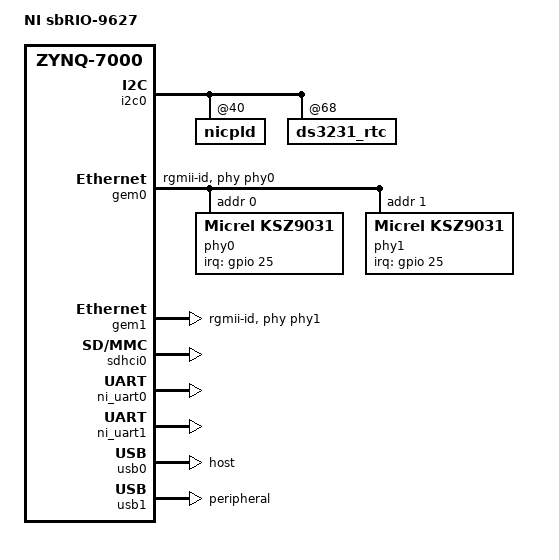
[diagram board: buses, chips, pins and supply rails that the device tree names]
/dts-v1/;
/include/ "ni-zynq.dtsi"

/* NIDEVCODE 77D5 */

/ {
	model = "NI sbRIO-9627";
	compatible = "ni,zynq", "xlnx,zynq-7000";

	aliases {
		serial0 = &ni_uart0;
		nullserial = &null_uart;
		i2c0 = &i2c0;
	};

	chosen {
		stdout-path = "nullserial:115200n8";
	};

	amba {
		i2c0: i2c@e0004000 {
			nicpld@40 {
				watchdogs {
					boot-watchdog {
						interrupt-parent = <&gpio>;
						interrupts = <1 2 /* IRQ_TYPE_EDGE_FALLING */>;
					};
				};

			};

			ds3231_rtc@68 {
				status = "okay";
			};
		};
	};
};

&gem0 {
	status = "okay";
	clocks = <&clkc 30>, <&clkc 13>, <&clkc 15>;
	clock-names = "pclk", "hclk", "tx_clk";
	phy-handle = <&phy0>;
	phy-mode = "rgmii-id";
	xlnx,emio = <1>;
	cdns,emio-gpio-speed-1000 = <54>;

	#address-cells = <0x1>;
	#size-cells = <0x0>;

	phy0: phy@0 {
		compatible = "Micrel,ksz9031";
		device_type = "ethernet-phy";
		reg = <0x0>;
		/* Interrupt on GPIO25, shared with phy1. */
		interrupts = <25 8 /* IRQ_TYPE_LEVEL_LOW */>;
		interrupt-parent = <&gpio>;

		/* RX_DV Pad Skew [7:4] = +0.30ns (0xC0) */
		/* Default is 0b0111, or 7. 7 * 60 ps = 420 ps. 0.30 ns is 300
		 * ps. 420 + 300 is 720 ps. */
		rxdv-skew-ps = <720>;

		/* TX_EN Pad Skew [3:0] = -0.30ns (0x02) */
		/* Default is 0b0111, or 7. 7 * 60 ps = 420 ps. 0.30 ns is 300
		 * ps. 420 - 300 is 120 ps. */
		txen-skew-ps = <120>;

		/* RXD 0-3 Pad Skew = +0.30ns (0xC) */
		/* Default is 0b0111, or 7. 7 * 60 ps = 420 ps. 0.30 ns is 300
		 * ps. 420 + 300 is 720 ps. */
		rxd0-skew-ps = <720>;
		rxd1-skew-ps = <720>;
		rxd2-skew-ps = <720>;
		rxd3-skew-ps = <720>;

		/* TXD 0-3 Pad Skew = -0.30ns (0x2) */
		/* Default is 0b0111, or 7. 7 * 60 ps = 420 ps. 0.30 ns is 300
		 * ps. 420 - 300 is 120 ps. */
		txd0-skew-ps = <120>;
		txd1-skew-ps = <120>;
		txd2-skew-ps = <120>;
		txd3-skew-ps = <120>;

		/* Write value to MMD Address 2h, Register 8h */
		/* RX_CLK Pad Skew [4:0] = -0.9ns (0x0) */
		/* Default is 0b01111, or 15. 15 * 60 ps = 900 ps. 0.90 ns is
		 * 900 ps. 900 - 900 is 0 ps. */
		rxc-skew-ps = <0>;
		/* GTX_CLK Pad Skew [9:5] = +0.96ns (0x3E) */
		/* Default is 0b01111, or 15. 15 * 60 ps = 900 ps. 0.96 ns is
		 * 960 ps. 900 + 960 is 1860 ps. */
		txc-skew-ps = <1860>;
	};

	phy1: phy@1 {
		compatible = "Micrel,ksz9031";
		device_type = "ethernet-phy";
		reg = <0x1>;
		/* Interrupt on GPIO25, shared with phy0. */
		interrupts = <25 8 /* IRQ_TYPE_LEVEL_LOW */>;
		interrupt-parent = <&gpio>;

		/* RX_DV Pad Skew [7:4] = +0.30ns (0xC0) */
		/* Default is 0b0111, or 7. 7 * 60 ps = 420 ps. 0.30 ns is 300
		 * ps. 420 + 300 is 720 ps. */
		rxdv-skew-ps = <720>;

		/* TX_EN Pad Skew [3:0] = -0.30ns (0x02) */
		/* Default is 0b0111, or 7. 7 * 60 ps = 420 ps. 0.30 ns is 300
		 * ps. 420 - 300 is 120 ps. */
		txen-skew-ps = <120>;

		/* RXD 0-3 Pad Skew = +0.30ns (0xC) */
		/* Default is 0b0111, or 7. 7 * 60 ps = 420 ps. 0.30 ns is 300
		 * ps. 420 + 300 is 720 ps. */
		rxd0-skew-ps = <720>;
		rxd1-skew-ps = <720>;
		rxd2-skew-ps = <720>;
		rxd3-skew-ps = <720>;

		/* TXD 0-3 Pad Skew = -0.30ns (0x2) */
		/* Default is 0b0111, or 7. 7 * 60 ps = 420 ps. 0.30 ns is 300
		 * ps. 420 - 300 is 120 ps. */
		txd0-skew-ps = <120>;
		txd1-skew-ps = <120>;
		txd2-skew-ps = <120>;
		txd3-skew-ps = <120>;

		/* Write value to MMD Address 2h, Register 8h */
		/* RX_CLK Pad Skew [4:0] = -0.9ns (0x0) */
		/* Default is 0b01111, or 15. 15 * 60 ps = 900 ps. 0.90 ns is
		 * 900 ps. 900 - 900 is 0 ps. */
		rxc-skew-ps = <0>;
		/* GTX_CLK Pad Skew [9:5] = +0.96ns (0x3E) */
		/* Default is 0b01111, or 15. 15 * 60 ps = 900 ps. 0.96 ns is
		 * 960 ps. 900 + 960 is 1860 ps. */
		txc-skew-ps = <1860>;
	};
};

&gem1 {
	status = "okay";
	clocks = <&clkc 31>, <&clkc 14>, <&clkc 17>;
	clock-names = "pclk", "hclk", "tx_clk";
	phy-handle = <&phy1>;
	phy-mode = "rgmii-id";
	cdns,no_mdio_bus;
	xlnx,emio = <1>;
	xlnx,emio-gpio-speed-1000 = <55>;
};

&sdhci0 {
	status = "okay";
};

&ni_uart0 {
	status = "okay";
	transceiver = "RS-232";
};

&ni_uart1 {
	status = "okay";
	transceiver = "RS-232";
};

&usb0 {
	status = "okay";
	dr_mode = "host";
};

&usb1 {
	status = "okay";
	dr_mode = "peripheral";
};

&clkc {
	/* Enable fclk1 for serial. */
	fclk-enable = <0x2>;
};
